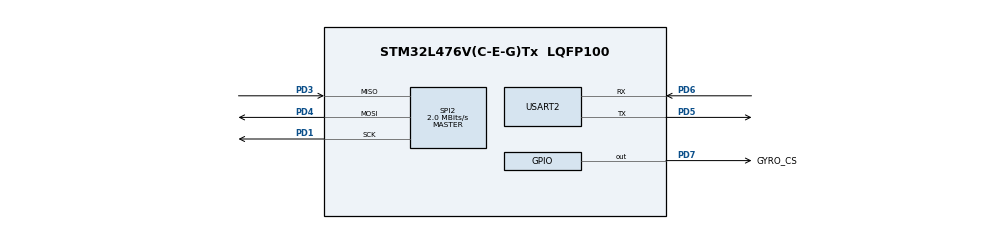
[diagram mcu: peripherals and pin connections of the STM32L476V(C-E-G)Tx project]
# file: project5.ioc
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Mcu.Family=STM32L4
RCC.MSI_VALUE=4000000
SPI2.VirtualType=VM_MASTER
PD3.Signal=SPI2_MISO
PD7.Signal=GPIO_Output
PD1.Signal=SPI2_SCK
PD5.Signal=USART2_TX
PD6.Mode=Asynchronous
NVIC.USART2_IRQn=true\:0\:0\:false\:false\:true\:true\:true
ProjectManager.StackSize=0x400
ProjectManager.TargetToolchain=STM32CubeIDE
PD4.Signal=SPI2_MOSI
RCC.LSE_VALUE=32768
PD5.Mode=Asynchronous
RCC.HSE_VALUE=8000000
board=custom
USART2.VirtualMode-Asynchronous=VM_ASYNC
RCC.VCOOutputFreq_Value=32000000
PD1.Mode=Full_Duplex_Master
SPI2.CalculateBaudRate=2.0 MBits/s
PD3.Mode=Full_Duplex_Master
Mcu.Name=STM32L476V(C-E-G)Tx
PD7.GPIO_Label=GYRO_CS
Mcu.Package=LQFP100
SPI2.Mode=SPI_MODE_MASTER
ProjectManager.HeapSize=0x200
RCC.HSI_VALUE=16000000
NVIC.PriorityGroup=NVIC_PRIORITYGROUP_4
PD4.Mode=Full_Duplex_Master
SPI2.Direction=SPI_DIRECTION_2LINES
PD6.Signal=USART2_RX

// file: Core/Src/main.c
/* USER CODE BEGIN Header */
/**
  ******************************************************************************
  * @file           : main.c
  * @brief          : Main program body
  ******************************************************************************
  * @attention
  *
  * <h2><center>&copy; Copyright (c) 2021 STMicroelectronics.
  * All rights reserved.</center></h2>
  *
  * This software component is licensed by ST under BSD 3-Clause license,
  * the "License"; You may not use this file except in compliance with the
  * License. You may obtain a copy of the License at:
  *                        opensource.org/licenses/BSD-3-Clause
  *
  ******************************************************************************
  */
/* USER CODE END Header */
#include "main.h"

/* USER CODE BEGIN Includes */
#include "assert.h"
#include "stdio.h"
#include "string.h"
#include "math.h"
#include "stm32l476g_discovery_gyroscope.h"
char buffer[200];
/* USER CODE END Includes */

/* USER CODE BEGIN PTD */
typedef struct{
	int line;
	int col;
} position_t;
/* USER CODE END PTD */

SPI_HandleTypeDef hspi2;

UART_HandleTypeDef huart2;

/* USER CODE BEGIN PV */
int buff_size = 16;
/* USER CODE END PV */

void SystemClock_Config(void);
static void MX_GPIO_Init(void);
static void MX_USART2_UART_Init(void);
static void MX_SPI2_Init(void);

int main(void)
{

  /* MCU Configuration--------------------------------------------------------*/

  /* Reset of all peripherals, Initializes the Flash interface and the Systick. */
  HAL_Init();

  /* Configure the system clock */
  SystemClock_Config();

  /* Initialize all configured peripherals */
  MX_GPIO_Init();
  MX_USART2_UART_Init();
  MX_SPI2_Init();

  /* Infinite loop */
  /* USER CODE BEGIN WHILE */
	position_t current_pos;
	current_pos.line = 0;
	current_pos.col = 0;
	#define THRESHOLD 10000
	float velocity[3]; // storage for angular velocity measurements (x,y,z) from L3GD20
	float angle[3]; // storage for integrated angles
	assert(BSP_GYRO_Init() == HAL_OK);
	int col = 0;
	int last_col = 0;
	int last_line = 0;
	int backwards = 0;
	int forward = 0;
	HAL_UART_Transmit(&huart2, (uint8_t *)"\e[H", 10, 10000);
//	while(1){
//		HAL_UART_Transmit(&huart2, (uint8_t *)"\e[2J", 10, 10000);
//		HAL_UART_Transmit(&huart2, (uint8_t *)"\e[1C", 10, 10000);
//		HAL_UART_Transmit(&huart2, (uint8_t *)"\e[2C", 10, 10000);
//		HAL_UART_Transmit(&huart2, (uint8_t *)"\e[1D", 10, 10000);
//		HAL_UART_Transmit(&huart2, (uint8_t *)"\e[1D", 10, 10000);
//		HAL_UART_Transmit(&huart2, (uint8_t *)"\e[3C", 10, 10000);
//		HAL_UART_Transmit(&huart2, (uint8_t *)"\e[1D", 10, 10000);
//		HAL_UART_Transmit(&huart2, (uint8_t *)"\e[1D", 10, 10000);
//		HAL_UART_Transmit(&huart2, (uint8_t *)"\e[1C", 10, 10000);
//	}
	while (1){
		// get a new reading
		BSP_GYRO_GetXYZ(velocity);

		// if motion on any axis exceeds a minimum threshold
		if(fabs(velocity[0])>THRESHOLD || fabs(velocity[1])>THRESHOLD || fabs(velocity[2])>THRESHOLD){
			HAL_UART_Transmit(&huart2, (uint8_t *)"\e[J", 5, 10000);
			HAL_UART_Transmit(&huart2, (uint8_t *)"\e[1J", 6, 10000);

			// integrate motion if it exceeds threshold on THIS axis
			for(int ii=0; ii<3; ii++) { // for x, y, z...
				if(fabs(velocity[ii])>THRESHOLD)
				angle[ii] += velocity[ii]; // ... perform integration and print
			}

//			// print new result
//			sprintf(buffer, "%8d %8d %8d %8d %8d %8d \r\n",
//			(int)velocity[0], (int)velocity[1], (int)velocity[2],
//			(int)angle[0], (int)angle[1], (int)(angle[2]));

			if ((int)angle[1] > last_line){
				current_pos.line += 1;
//				char up_code[buff_size];
//				sprintf(up_code, "\e[%dA", (int)current_pos.line);
				HAL_UART_Transmit(&huart2, (uint8_t *)".\e[1A", 5, 10000);
				HAL_UART_Transmit(&huart2, (uint8_t *)"o\e[1A", 5, 10000);
				HAL_UART_Transmit(&huart2, (uint8_t *)"O\e[1A", 5, 10000);
				HAL_UART_Transmit(&huart2, (uint8_t *)"\e[1A", 5, 10000);
				last_line = (int)angle[1];
			}
			if ((int)angle[1] < last_line){
				current_pos.line = current_pos.line - 1;
//				char down_code[buff_size];
//				sprintf(down_code, "\e[%dB", (int)current_pos.line);
				HAL_UART_Transmit(&huart2, (uint8_t *)".\e[1B", 5, 10000);
				HAL_UART_Transmit(&huart2, (uint8_t *)"o\e[1B", 5, 10000);
				HAL_UART_Transmit(&huart2, (uint8_t *)"O\e[1B", 5, 10000);
				HAL_UART_Transmit(&huart2, (uint8_t *)"\e[1B", 5, 10000);
				last_line = (int)angle[1];
			}
			if ((int)angle[0] < last_col){
				current_pos.col = current_pos.col - 1;
//				char left_code[buff_size];
//				sprintf(left_code, "\e[%dD", (int)current_pos.col);
				backwards = 1;
				last_col = (int)angle[0];
			}
			if ((int)angle[0] > last_col){
				current_pos.col += 1;
//				char right_code[buff_size];
//				sprintf(right_code, "\e[%dC", (int)current_pos.col);
				forward = 1;
				last_col = (int)angle[0];
			}
			if (backwards){
				HAL_UART_Transmit(&huart2, (uint8_t *)"\e[8D", 5, 10000);
				HAL_UART_Transmit(&huart2, (uint8_t *)"Oo.", 3, 10000);
				HAL_UART_Transmit(&huart2, (uint8_t *)"\e[4D", 5, 10000);
				backwards = 0;
			}
			if (forward){
				HAL_UART_Transmit(&huart2, (uint8_t *)"\e[5C", 5, 10000);
				HAL_UART_Transmit(&huart2, (uint8_t *)".oO", 3, 10000);
				forward = 0;
			}
			last_col = (int)angle[0];
			last_line = (int)angle[1];
			HAL_Delay(50);
		}

    /* USER CODE END WHILE */

  }
}

void SystemClock_Config(void)
{
  RCC_OscInitTypeDef RCC_OscInitStruct = {0};
  RCC_ClkInitTypeDef RCC_ClkInitStruct = {0};
  RCC_PeriphCLKInitTypeDef PeriphClkInit = {0};

  /** Initializes the RCC Oscillators according to the specified parameters
  * in the RCC_OscInitTypeDef structure.
  */
  RCC_OscInitStruct.OscillatorType = RCC_OSCILLATORTYPE_MSI;
  RCC_OscInitStruct.MSIState = RCC_MSI_ON;
  RCC_OscInitStruct.MSICalibrationValue = 0;
  RCC_OscInitStruct.MSIClockRange = RCC_MSIRANGE_6;
  RCC_OscInitStruct.PLL.PLLState = RCC_PLL_NONE;
  if (HAL_RCC_OscConfig(&RCC_OscInitStruct) != HAL_OK)
  {
    Error_Handler();
  }
  /** Initializes the CPU, AHB and APB buses clocks
  */
  RCC_ClkInitStruct.ClockType = RCC_CLOCKTYPE_HCLK|RCC_CLOCKTYPE_SYSCLK
                              |RCC_CLOCKTYPE_PCLK1|RCC_CLOCKTYPE_PCLK2;
  RCC_ClkInitStruct.SYSCLKSource = RCC_SYSCLKSOURCE_MSI;
  RCC_ClkInitStruct.AHBCLKDivider = RCC_SYSCLK_DIV1;
  RCC_ClkInitStruct.APB1CLKDivider = RCC_HCLK_DIV1;
  RCC_ClkInitStruct.APB2CLKDivider = RCC_HCLK_DIV1;

  if (HAL_RCC_ClockConfig(&RCC_ClkInitStruct, FLASH_LATENCY_0) != HAL_OK)
  {
    Error_Handler();
  }
  PeriphClkInit.PeriphClockSelection = RCC_PERIPHCLK_USART2;
  PeriphClkInit.Usart2ClockSelection = RCC_USART2CLKSOURCE_PCLK1;
  if (HAL_RCCEx_PeriphCLKConfig(&PeriphClkInit) != HAL_OK)
  {
    Error_Handler();
  }
  /** Configure the main internal regulator output voltage
  */
  if (HAL_PWREx_ControlVoltageScaling(PWR_REGULATOR_VOLTAGE_SCALE1) != HAL_OK)
  {
    Error_Handler();
  }
}

static void MX_SPI2_Init(void)
{

  /* SPI2 parameter configuration*/
  hspi2.Instance = SPI2;
  hspi2.Init.Mode = SPI_MODE_MASTER;
  hspi2.Init.Direction = SPI_DIRECTION_2LINES;
  hspi2.Init.DataSize = SPI_DATASIZE_4BIT;
  hspi2.Init.CLKPolarity = SPI_POLARITY_LOW;
  hspi2.Init.CLKPhase = SPI_PHASE_1EDGE;
  hspi2.Init.NSS = SPI_NSS_SOFT;
  hspi2.Init.BaudRatePrescaler = SPI_BAUDRATEPRESCALER_2;
  hspi2.Init.FirstBit = SPI_FIRSTBIT_MSB;
  hspi2.Init.TIMode = SPI_TIMODE_DISABLE;
  hspi2.Init.CRCCalculation = SPI_CRCCALCULATION_DISABLE;
  hspi2.Init.CRCPolynomial = 7;
  hspi2.Init.CRCLength = SPI_CRC_LENGTH_DATASIZE;
  hspi2.Init.NSSPMode = SPI_NSS_PULSE_ENABLE;
  if (HAL_SPI_Init(&hspi2) != HAL_OK)
  {
    Error_Handler();
  }

}

static void MX_USART2_UART_Init(void)
{

  huart2.Instance = USART2;
  huart2.Init.BaudRate = 115200;
  huart2.Init.WordLength = UART_WORDLENGTH_8B;
  huart2.Init.StopBits = UART_STOPBITS_1;
  huart2.Init.Parity = UART_PARITY_NONE;
  huart2.Init.Mode = UART_MODE_TX_RX;
  huart2.Init.HwFlowCtl = UART_HWCONTROL_NONE;
  huart2.Init.OverSampling = UART_OVERSAMPLING_16;
  huart2.Init.OneBitSampling = UART_ONE_BIT_SAMPLE_DISABLE;
  huart2.AdvancedInit.AdvFeatureInit = UART_ADVFEATURE_NO_INIT;
  if (HAL_UART_Init(&huart2) != HAL_OK)
  {
    Error_Handler();
  }

}

static void MX_GPIO_Init(void)
{
  GPIO_InitTypeDef GPIO_InitStruct = {0};

  /* GPIO Ports Clock Enable */
  __HAL_RCC_GPIOD_CLK_ENABLE();

  /*Configure GPIO pin Output Level */
  HAL_GPIO_WritePin(GYRO_CS_GPIO_Port, GYRO_CS_Pin, GPIO_PIN_RESET);

  /*Configure GPIO pin : GYRO_CS_Pin */
  GPIO_InitStruct.Pin = GYRO_CS_Pin;
  GPIO_InitStruct.Mode = GPIO_MODE_OUTPUT_PP;
  GPIO_InitStruct.Pull = GPIO_NOPULL;
  GPIO_InitStruct.Speed = GPIO_SPEED_FREQ_LOW;
  HAL_GPIO_Init(GYRO_CS_GPIO_Port, &GPIO_InitStruct);

}

void Error_Handler(void)
{
  __disable_irq();
  while (1)
  {
  }
}

/************************ (C) COPYRIGHT STMicroelectronics *****END OF FILE****/
